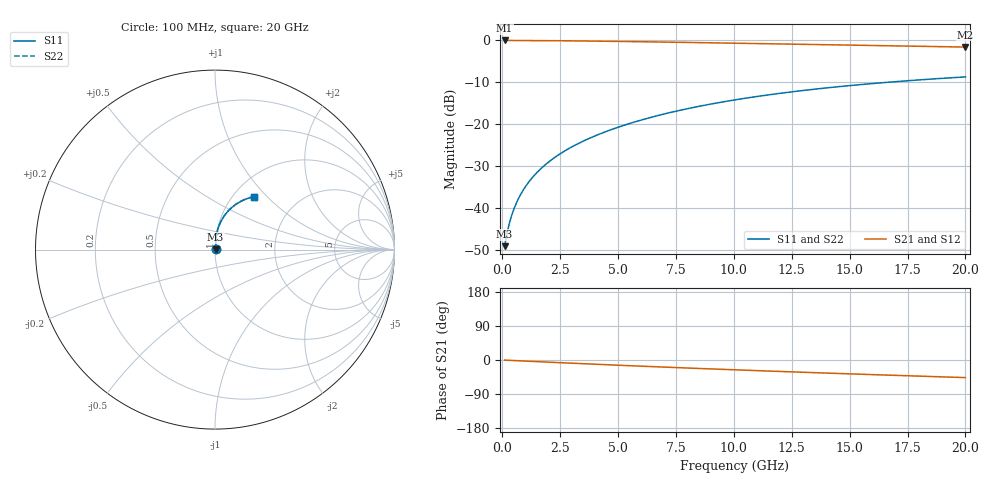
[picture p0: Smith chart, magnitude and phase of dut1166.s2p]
! Touchstone file exported from HFSS 2024.1.0
!  File:  C:/UserFiles/LocalFiles/RDL_TSV_Batchsim/temp_RDL_bottom_1166_1780056664.aedt
!  Generated:  08:13:36 PM May 29, 2026
!  Design:  RDL_bottom
!  Project:  temp_RDL_bottom_1166_1780056664
!  Setup:  Setup1
!  Solution:  Sweep
! Variables:
!  dtsv = 10.80580581um
!  hbump = 3um
!  htsv = 71.57um
!  ldown = 698.01um
!  lrdl = 100um
!  p = 40
!  p1 = 48.49um
!  rhole = 1um
!  t = 450um
!  tdown = 3.88um
!  trdl = 3.915915916um
!  wdown = 24.03um
!  wrdl = 20um
# GHz S MA R 50.000000
! Terminal data exported
! Port[1] = RDL1_T1
! Port[2] = RDL1_T2
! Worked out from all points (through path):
!   200 points, 100 MHz to 20 GHz, reference 50 ohm
!   highest |S21| = -0.02 dB at 100 MHz (marker M1); lowest = -1.6 dB at 20 GHz (marker M2)
!   group delay of S21, straight-line fit = 6.39 ps
!   lowest |S11| = -49.2 dB at 100 MHz (marker M3), VSWR 1.01, Z = 50.3 + j0.2 ohm
!   |S11| at or under -10 dB: start of sweep to 16.68 GHz
!   |S22| runs from -49.2 to -8.7 dB; largest |S21 - S12| = 1.3e-14
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0.1  0.003482 34.8  0.9971 -0.3  0.9971 -0.3  0.003482 34.8
! Gamma 0 0 0 0
! Port Impedance 50 0 50 0
0.2  0.004909 51.6  0.9969 -0.6  0.9969 -0.6  0.004909 51.6
0.3  0.006464 60.1  0.9967 -0.9  0.9967 -0.9  0.006464 60.1
0.4  0.008042 65.4  0.9965 -1.2  0.9965 -1.2  0.008041 65.4
0.5  0.009637 69.0  0.9963 -1.5  0.9963 -1.5  0.009636 69.0
0.6  0.01125 71.8  0.9961 -1.7  0.9961 -1.7  0.01125 71.8
0.8  0.01454 75.6  0.9957 -2.3  0.9957 -2.3  0.01454 75.6
1.1  0.01959 79.0  0.995 -3.2  0.995 -3.2  0.01959 79.0
1.3  0.023 80.5  0.9944 -3.7  0.9944 -3.7  0.02301 80.5
1.6  0.0282 81.9  0.9934 -4.6  0.9934 -4.6  0.0282 82.0
2.1  0.03701 83.4  0.9913 -6.0  0.9913 -6.0  0.03701 83.4
2.7  0.04782 84.2  0.9882 -7.6  0.9882 -7.6  0.04783 84.2
3.5  0.06266 84.4  0.9832 -9.8  0.9832 -9.8  0.06268 84.5
4.2  0.07602 84.2  0.9782 -11.7  0.9782 -11.7  0.07607 84.3
5  0.0917 83.5  0.9717 -13.8  0.9717 -13.8  0.09176 83.6
6.8  0.1281 81.0  0.9558 -18.3  0.9558 -18.3  0.1282 81.1
8.4  0.161 78.1  0.9407 -22.1  0.9407 -22.1  0.1612 78.1
10.1  0.1957 74.6  0.9244 -26.1  0.9244 -26.1  0.1959 74.6
11.7  0.2273 71.1  0.909 -29.6  0.909 -29.6  0.2277 71.2
13.4  0.2595 67.4  0.8927 -33.3  0.8927 -33.3  0.2599 67.4
16.7  0.3166 60.3  0.8615 -40.1  0.8615 -40.1  0.3171 60.3
20  0.366 53.6  0.8315 -46.5  0.8315 -46.5  0.3666 53.6
